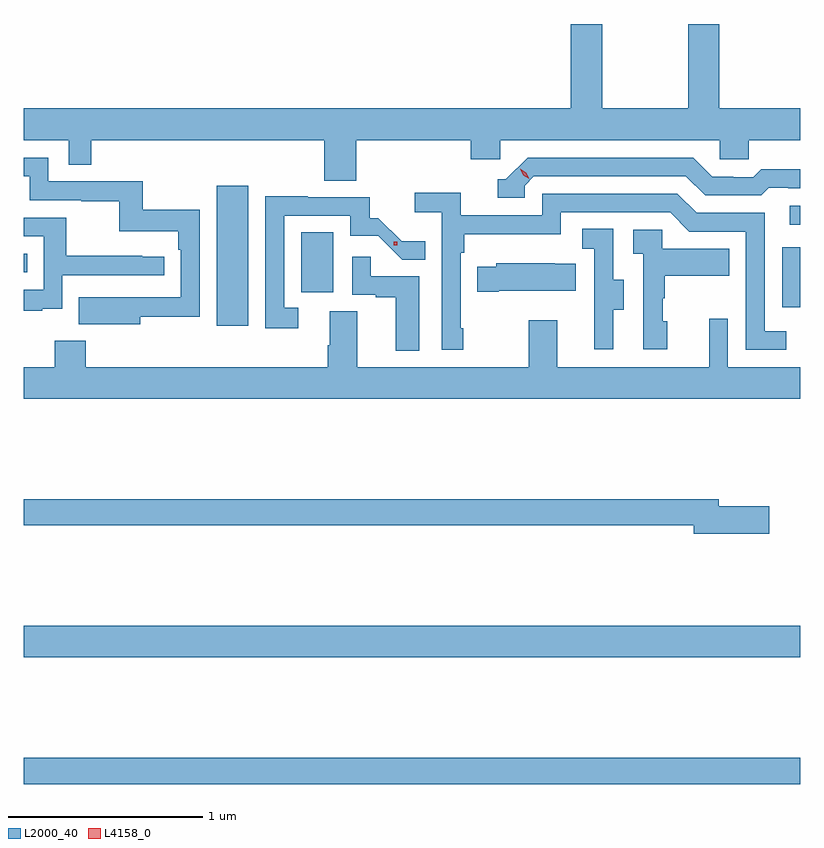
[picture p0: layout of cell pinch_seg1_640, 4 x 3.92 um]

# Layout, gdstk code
import gdstk
lib = gdstk.Library(unit=1e-6, precision=1e-09)
def R(c, l, rs):  # rectangles x0, y0, x1, y1
    for r in rs: c.add(gdstk.rectangle(r[:2], r[2:], *l))
def P(c, l, *ps):  # polygons
    for p in ps: c.add(gdstk.Polygon(p, *l))
L2000_40 = (2000, 40)
L4158_0 = (4158, 0)

pinch_seg1_640 = lib.new_cell('pinch_seg1_640')
R(pinch_seg1_640, L2000_40, [(1119.156,505.792,1123.156,505.928), (1119.156,506.444,1123.156,506.608), (1120.151,508.152,1120.312,508.873), (1123.062,508.248,1123.156,508.558), (1120.586,508.326,1120.75,508.633), (1119.156,508.428,1119.173,508.524), (1123.101,508.674,1123.156,508.77)])
P(pinch_seg1_640, L2000_40, [(1120.868,509.108),(1121.459,509.108),(1121.459,509.01),(1121.61,509.01),(1121.61,509.108),(1122.741,509.108),(1122.741,509.01),(1122.891,509.01),(1122.891,509.108),(1123.156,509.108),(1123.156,509.272),(1122.74,509.272),(1122.74,509.707),(1122.58,509.707),(1122.58,509.272),(1122.135,509.272),(1122.135,509.707),(1121.975,509.707),(1121.975,509.272),(1119.156,509.272),(1119.156,509.108),(1119.387,509.108),(1119.387,508.981),(1119.503,508.981),(1119.503,509.108),(1120.703,509.108),(1120.703,508.9),(1120.868,508.9)],
  [(1121.736,508.875),(1121.784,508.923),(1122.567,508.923),(1122.666,508.824),(1122.955,508.824),(1122.994,508.863),(1123.093,508.863),(1123.093,508.86),(1123.156,508.86),(1123.156,508.96),(1122.955,508.96),(1122.913,508.917),(1122.81,508.917),(1122.81,508.92),(1122.703,508.92),(1122.604,509.019),(1121.751,509.019),(1121.64,508.908),(1121.597,508.908),(1121.597,508.812),(1121.736,508.812)],
  [(1119.757,508.198),(1120.062,508.198),(1120.062,508.75),(1119.769,508.75),(1119.769,508.896),(1119.282,508.896),(1119.282,509.019),(1119.156,509.019),(1119.156,508.923),(1119.186,508.923),(1119.186,508.8),(1119.451,508.8),(1119.451,508.795),(1119.648,508.795),(1119.648,508.64),(1119.953,508.64),(1119.953,508.544),(1119.966,508.544),(1119.966,508.299),(1119.653,508.299),(1119.653,508.3),(1119.439,508.3),(1119.439,508.16),(1119.757,508.16)],
  [(1121.419,508.141),(1121.406,508.141),(1121.406,508.529),(1121.426,508.529),(1121.426,508.625),(1121.922,508.625),(1121.922,508.737),(1122.486,508.737),(1122.585,508.638),(1122.876,508.638),(1122.876,508.029),(1123.085,508.029),(1123.085,508.125),(1122.972,508.125),(1122.972,508.734),(1122.622,508.734),(1122.523,508.833),(1121.826,508.833),(1121.826,508.722),(1121.408,508.722),(1121.408,508.838),(1121.169,508.838),(1121.169,508.736),(1121.31,508.736),(1121.31,508.029),(1121.419,508.029)],
  [(1120.57,508.245),(1120.497,508.245),(1120.497,508.719),(1120.839,508.719),(1120.839,508.615),(1120.983,508.615),(1121.106,508.492),(1121.225,508.492),(1121.225,508.587),(1121.102,508.587),(1120.983,508.706),(1120.938,508.706),(1120.938,508.815),(1120.619,508.815),(1120.619,508.82),(1120.401,508.82),(1120.401,508.14),(1120.57,508.14)],
  [(1119.251,508.241),(1119.354,508.241),(1119.354,508.413),(1119.88,508.413),(1119.88,508.509),(1119.767,508.509),(1119.767,508.514),(1119.374,508.514),(1119.374,508.71),(1119.156,508.71),(1119.156,508.614),(1119.258,508.614),(1119.258,508.338),(1119.156,508.338),(1119.156,508.23),(1119.251,508.23)],
  [(1122.193,508.234),(1122.247,508.234),(1122.247,508.389),(1122.192,508.389),(1122.192,508.652),(1122.033,508.652),(1122.033,508.549),(1122.096,508.549),(1122.096,508.245),(1122.095,508.245),(1122.095,508.032),(1122.193,508.032)],
  [(1122.472,508.176),(1122.447,508.176),(1122.447,508.295),(1122.457,508.295),(1122.457,508.409),(1122.791,508.409),(1122.791,508.549),(1122.444,508.549),(1122.444,508.647),(1122.297,508.647),(1122.297,508.523),(1122.348,508.523),(1122.348,508.032),(1122.472,508.032)],
  [(1121.194,508.407),(1120.944,508.407),(1120.944,508.507),(1120.848,508.507),(1120.848,508.311),(1120.969,508.311),(1120.969,508.299),(1121.072,508.299),(1121.072,508.025),(1121.194,508.025)],
  [(1121.602,508.334),(1121.999,508.334),(1121.999,508.471),(1121.891,508.471),(1121.891,508.474),(1121.589,508.474),(1121.589,508.456),(1121.491,508.456),(1121.491,508.327),(1121.602,508.327)],
  [(1123.156,507.94),(1122.783,507.94),(1122.783,508.189),(1122.686,508.189),(1122.686,507.94),(1121.905,507.94),(1121.905,508.18),(1121.758,508.18),(1121.758,507.94),(1120.873,507.94),(1120.873,508.226),(1120.733,508.226),(1120.733,508.052),(1120.721,508.052),(1120.721,507.94),(1119.476,507.94),(1119.476,508.075),(1119.316,508.075),(1119.316,507.94),(1119.156,507.94),(1119.156,507.776),(1123.156,507.776)],
  [(1122.997,507.224),(1122.736,507.224),(1122.736,507.26),(1119.156,507.26),(1119.156,507.124),(1122.608,507.124),(1122.608,507.082),(1122.997,507.082)])
R(pinch_seg1_640, L4158_0, [(1121.061,508.566,1121.081,508.586)])
P(pinch_seg1_640, L4158_0, [(1121.76,508.909),(1121.729,508.928),(1121.713,508.961),(1121.713,508.961),(1121.713,508.961),(1121.744,508.942),(1121.76,508.909),(1121.76,508.909)])

lib.write_gds('pinch_seg1_640.gds')
